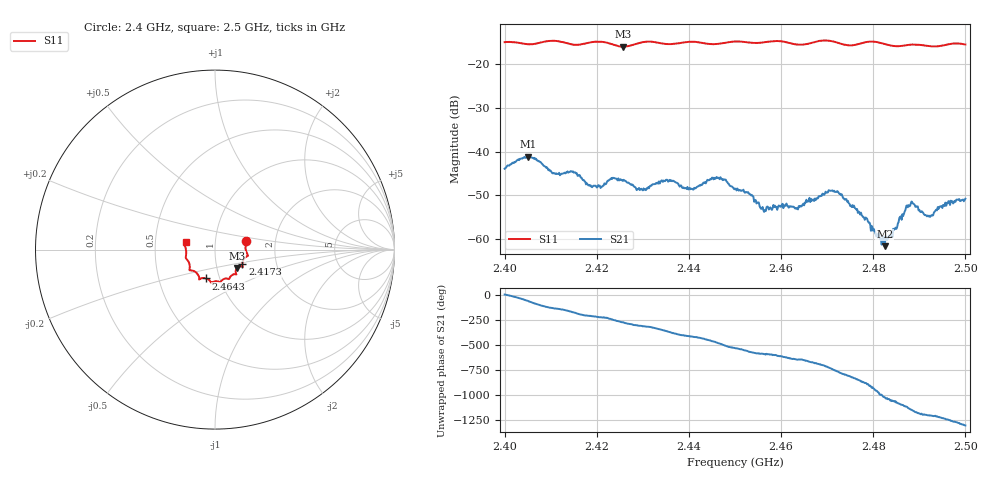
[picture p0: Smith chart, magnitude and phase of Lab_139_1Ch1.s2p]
# Hz S RI R 50
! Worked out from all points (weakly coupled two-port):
!   601 points, 2.4 GHz to 2.5 GHz, reference 50 ohm
!   highest |S21| = -41.15 dB at 2.405 GHz (marker M1); lowest = -61.7 dB at 2.4825 GHz (marker M2)
!   lowest |S11| = -15.9 dB at 2.4257 GHz (marker M3), VSWR 1.38, Z = 62.4 - j13.1 ohm
!   |S11| at or under -10 dB: start of sweep to end of sweep
!   S12 and S22 are empty: the file has one direction only
!   S11 on the Smith chart (normalised r, x): 2.4 GHz: 1.41, +0.14; 2.4173 GHz: 1.34, -0.23; 2.4643 GHz: 0.86, -0.28; 2.5 GHz: 0.72, +0.06
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2.4e9  0.1731 0.0497  0.00632 0.000756  0 0  0 0
2.405e9  0.17 0.0137  0.00486 -0.00728  0 0  0 0
2.410667e9  0.1836 -0.034  -0.00372 -0.00431  0 0  0 0
2.416667e9  0.1528 -0.0746  -0.00489 0.0012  0 0  0 0
2.417333e9  0.1524 -0.0821  -0.00425 0.00171  0 0  0 0
2.4205e9  0.1547 -0.0968  -0.00307 0.00262  0 0  0 0
2.425667e9  0.1226 -0.1022  1.06e-05 0.00461  0 0  0 0
2.429833e9  0.1178 -0.1354  0.00224 0.00289  0 0  0 0
2.433333e9  0.1129 -0.1366  0.00398 0.0016  0 0  0 0
2.4405e9  0.079 -0.1643  0.0022 -0.00304  0 0  0 0
2.4465e9  0.0437 -0.167  -0.00254 -0.00424  0 0  0 0
2.45e9  0.0298 -0.181  -0.00368 -0.000711  0 0  0 0
2.453333e9  0.0152 -0.1771  -0.00288 0.0015  0 0  0 0
2.456167e9  -0.00794 -0.1787  -0.00147 0.00153  0 0  0 0
2.464333e9  -0.0502 -0.1605  0.000535 0.00229  0 0  0 0
2.466667e9  -0.0763 -0.1599  0.00178 0.00207  0 0  0 0
2.472667e9  -0.0894 -0.1501  0.00197 -0.0026  0 0  0 0
2.4825e9  -0.1406 -0.098  0.000398 0.000721  0 0  0 0
2.483333e9  -0.1409 -0.0896  0.000778 0.000719  0 0  0 0
2.488167e9  -0.1609 -0.0498  0.00116 -0.00227  0 0  0 0
2.492167e9  -0.1607 -0.0231  -0.000961 -0.00157  0 0  0 0
2.5e9  -0.164 0.0422  -0.00213 0.00195  0 0  0 0
